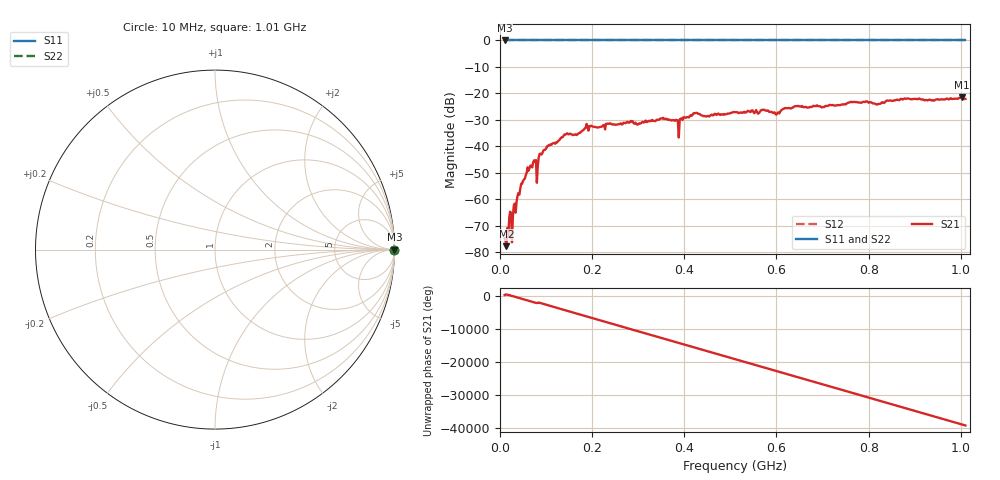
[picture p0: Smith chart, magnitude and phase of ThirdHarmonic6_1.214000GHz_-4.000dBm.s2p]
! 8/16/2025 12:40:28 PM
! C:\ANRITSUVNA\TEMP\TEMP.S2P
! CHANNEL.1
! TR.MEASUREMENT
! RAW.DATA
! RF.CORRECTION.OFF
! AVERAGING.OFF
! IF.BANDWIDTH: 5KHZ
! SWEEPTYPE:  FREQ.SWEEP(Linear)
! Reference Plane Port Info
! PORT:  PORT1  PORT2
! DISTANCE:  0  m  0  m
! TIME:  0  s  0  s
! PHASE.OFFSET:  0  deg.  0  deg.
! LOSS:  0  dB  0  dB
! REF.LOSS:  0  dB  0  dB
! REF.FREQ:  0  Hz  0  Hz
! Power Info
! POWER:  -20  dBm  -20  dBm
! EFF.POWER:  -20  dBm  -20  dBm
! SOURCE.ATTEN:  0  dB  0  dB
! TEST.ATTEN:  0  dB  0  dB
# GHZ S RI R 50.0
! FREQ.GHZ  S11RE  S11IM  S21RE  S21IM  S12RE  S12IM  S22RE  S22IM
!; PortSelection: Port_12
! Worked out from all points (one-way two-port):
!   501 points, 10 MHz to 1.01 GHz, reference 50 ohm
!   highest |S21| = -21.51 dB at 1.002 GHz (marker M1); lowest = -77.7 dB at 14 MHz (marker M2)
!   lowest |S11| = 0.0 dB at 10 MHz (marker M3)
!   |S11| at or under -10 dB: nowhere
!   |S22| runs from 0.0 to 0.0 dB; largest |S21 - S12| = 1.1
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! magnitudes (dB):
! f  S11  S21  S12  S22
! 10 MHz  0.0  -74.7  0.0  0.0
! 14 MHz  0.0  -77.7  0.0  0.0
! 20 MHz  0.0  -67.0  0.0  0.0
! 22 MHz  0.0  -64.7  0.0  0.0
! 30 MHz  0.0  -62.3  0.0  0.0
! 32 MHz  0.0  -61.6  0.0  0.0
! 42 MHz  0.0  -58.3  0.0  0.0
! 64 MHz  0.0  -48.3  0.0  0.0
! 74 MHz  0.0  -45.3  0.0  0.0
! 80 MHz  0.0  -53.8  0.0  0.0
! 88 MHz  0.0  -42.8  0.0  0.0
! 106 MHz  0.0  -39.5  0.0  0.0
! 178 MHz  0.0  -34.2  0.0  0.0
! 344 MHz  0.0  -30.0  0.0  0.0
! 384 MHz  0.0  -30.1  0.0  0.0
! 424 MHz  0.0  -27.5  0.0  0.0
! 510 MHz  0.0  -27.0  0.0  0.0
! 602 MHz  0.0  -27.4  0.0  0.0
! 678 MHz  0.0  -25.0  0.0  0.0
! 844 MHz  0.0  -22.8  0.0  0.0
! 1.002 GHz  0.0  -21.5  0.0  0.0
! 1.01 GHz  0.0  -22.1  0.0  0.0
